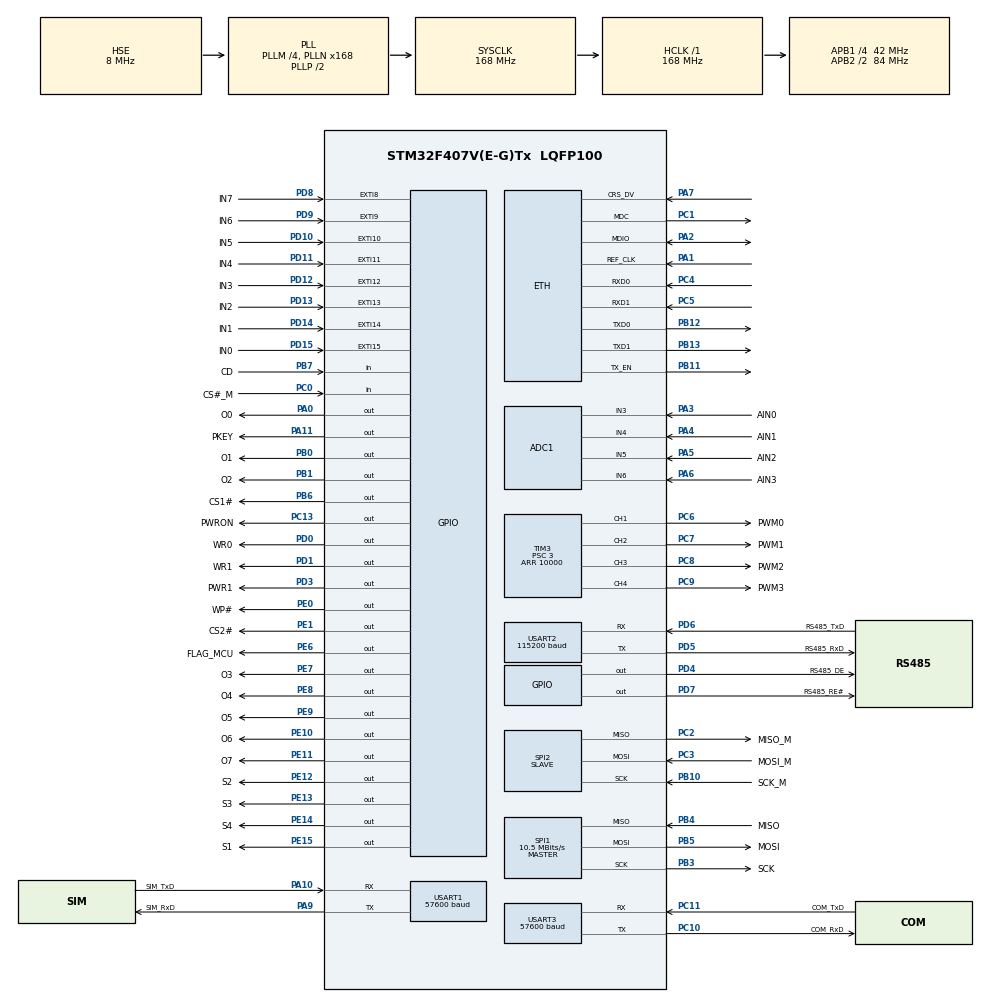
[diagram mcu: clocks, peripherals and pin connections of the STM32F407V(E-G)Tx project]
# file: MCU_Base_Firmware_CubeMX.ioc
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ADC1.Channel-0\#ChannelRegularConversion=ADC_CHANNEL_3
ADC1.Channel-1\#ChannelRegularConversion=ADC_CHANNEL_4
ADC1.Channel-2\#ChannelRegularConversion=ADC_CHANNEL_5
ADC1.Channel-3\#ChannelRegularConversion=ADC_CHANNEL_6
ADC1.ClockPrescaler=ADC_CLOCK_SYNC_PCLK_DIV4
ADC1.ContinuousConvMode=DISABLE
ADC1.DMAContinuousRequests=ENABLE
ADC1.EOCSelection=ADC_EOC_SINGLE_CONV
ADC1.ExternalTrigConv=ADC_EXTERNALTRIGCONV_T4_CC4
ADC1.InjNumberOfConversion=0
ADC1.NbrOfConversion=4
ADC1.NbrOfConversionFlag=1
ADC1.Rank-0\#ChannelRegularConversion=1
ADC1.Rank-1\#ChannelRegularConversion=2
ADC1.Rank-2\#ChannelRegularConversion=3
ADC1.Rank-3\#ChannelRegularConversion=4
ADC1.SamplingTime-0\#ChannelRegularConversion=ADC_SAMPLETIME_3CYCLES
ADC1.SamplingTime-1\#ChannelRegularConversion=ADC_SAMPLETIME_3CYCLES
ADC1.SamplingTime-2\#ChannelRegularConversion=ADC_SAMPLETIME_3CYCLES
ADC1.SamplingTime-3\#ChannelRegularConversion=ADC_SAMPLETIME_3CYCLES
ADC1.master=1
Dma.ADC1.0.Direction=DMA_PERIPH_TO_MEMORY
Dma.ADC1.0.FIFOMode=DMA_FIFOMODE_DISABLE
Dma.ADC1.0.Instance=DMA2_Stream0
Dma.ADC1.0.MemDataAlignment=DMA_MDATAALIGN_HALFWORD
Dma.ADC1.0.MemInc=DMA_MINC_ENABLE
Dma.ADC1.0.Mode=DMA_CIRCULAR
Dma.ADC1.0.PeriphDataAlignment=DMA_PDATAALIGN_HALFWORD
Dma.ADC1.0.PeriphInc=DMA_PINC_DISABLE
Dma.ADC1.0.Priority=DMA_PRIORITY_LOW
Dma.Request0=ADC1
Dma.Request1=TIM3_CH1/TRIG
Dma.Request2=TIM3_CH2
Dma.Request3=TIM3_CH3
Dma.Request4=TIM3_CH4/UP
Dma.TIM3_CH1/TRIG.1.Direction=DMA_MEMORY_TO_PERIPH
Dma.TIM3_CH1/TRIG.1.FIFOMode=DMA_FIFOMODE_DISABLE
Dma.TIM3_CH1/TRIG.1.Instance=DMA1_Stream4
Dma.TIM3_CH1/TRIG.1.MemDataAlignment=DMA_MDATAALIGN_HALFWORD
Dma.TIM3_CH1/TRIG.1.MemInc=DMA_MINC_ENABLE
Dma.TIM3_CH1/TRIG.1.Mode=DMA_CIRCULAR
Dma.TIM3_CH1/TRIG.1.PeriphDataAlignment=DMA_PDATAALIGN_HALFWORD
Dma.TIM3_CH1/TRIG.1.PeriphInc=DMA_PINC_DISABLE
Dma.TIM3_CH1/TRIG.1.Priority=DMA_PRIORITY_LOW
Dma.TIM3_CH2.2.Direction=DMA_MEMORY_TO_PERIPH
Dma.TIM3_CH2.2.FIFOMode=DMA_FIFOMODE_DISABLE
Dma.TIM3_CH2.2.Instance=DMA1_Stream5
Dma.TIM3_CH2.2.MemDataAlignment=DMA_MDATAALIGN_HALFWORD
Dma.TIM3_CH2.2.MemInc=DMA_MINC_ENABLE
Dma.TIM3_CH2.2.Mode=DMA_CIRCULAR
Dma.TIM3_CH2.2.PeriphDataAlignment=DMA_PDATAALIGN_HALFWORD
Dma.TIM3_CH2.2.PeriphInc=DMA_PINC_DISABLE
Dma.TIM3_CH2.2.Priority=DMA_PRIORITY_LOW
Dma.TIM3_CH3.3.Direction=DMA_MEMORY_TO_PERIPH
Dma.TIM3_CH3.3.FIFOMode=DMA_FIFOMODE_DISABLE
Dma.TIM3_CH3.3.Instance=DMA1_Stream7
Dma.TIM3_CH3.3.MemDataAlignment=DMA_MDATAALIGN_HALFWORD
Dma.TIM3_CH3.3.MemInc=DMA_MINC_ENABLE
Dma.TIM3_CH3.3.Mode=DMA_CIRCULAR
Dma.TIM3_CH3.3.PeriphDataAlignment=DMA_PDATAALIGN_HALFWORD
Dma.TIM3_CH3.3.PeriphInc=DMA_PINC_DISABLE
Dma.TIM3_CH3.3.Priority=DMA_PRIORITY_LOW
Dma.TIM3_CH4/UP.4.Direction=DMA_MEMORY_TO_PERIPH
Dma.TIM3_CH4/UP.4.FIFOMode=DMA_FIFOMODE_DISABLE
Dma.TIM3_CH4/UP.4.Instance=DMA1_Stream2
Dma.TIM3_CH4/UP.4.MemDataAlignment=DMA_MDATAALIGN_HALFWORD
Dma.TIM3_CH4/UP.4.MemInc=DMA_MINC_ENABLE
Dma.TIM3_CH4/UP.4.Mode=DMA_CIRCULAR
Dma.TIM3_CH4/UP.4.PeriphDataAlignment=DMA_PDATAALIGN_HALFWORD
Dma.TIM3_CH4/UP.4.PeriphInc=DMA_PINC_DISABLE
Dma.TIM3_CH4/UP.4.Priority=DMA_PRIORITY_LOW
ETH.AutoNegotiation=ETH_AUTONEGOTIATION_ENABLE
ETH.MACAddr=02\:00\:00\:00\:00\:00
ETH.MediaInterface=ETH_MEDIA_INTERFACE_RMII
ETH.PHY_Name_RMII=DP83848_PHY_ADDRESS
LWIP.GATEWAY_ADDRESS=192.168.000.001
LWIP.IP_ADDRESS=192.168.000.090
LWIP.LWIP_DHCP=1
LWIP.MEMP_NUM_TCP_SEG=24
LWIP.NETMASK_ADDRESS=255.255.255.000
LWIP.TCP_MSS=460
LWIP.TCP_SND_BUF=1840
LWIP.TCP_WND=2048
LWIP.Version=v2.1.2_Cube
Mcu.Family=STM32F4
Mcu.Name=STM32F407V(E-G)Tx
Mcu.Package=LQFP100
NVIC.DMA1_Stream2_IRQn=true\:0\:0\:false\:false\:true\:false\:true
NVIC.DMA1_Stream4_IRQn=true\:0\:0\:false\:false\:true\:false\:true
NVIC.DMA1_Stream5_IRQn=true\:0\:0\:false\:false\:true\:false\:true
NVIC.DMA1_Stream7_IRQn=true\:0\:0\:false\:false\:true\:false\:true
NVIC.DMA2_Stream0_IRQn=true\:0\:0\:false\:false\:true\:false\:true
NVIC.EXTI15_10_IRQn=true\:0\:0\:false\:false\:true\:true\:true
NVIC.EXTI9_5_IRQn=true\:0\:0\:false\:false\:true\:true\:true
NVIC.PriorityGroup=NVIC_PRIORITYGROUP_4
NVIC.SPI2_IRQn=true\:0\:0\:false\:false\:true\:true\:true
NVIC.TIM1_UP_TIM10_IRQn=true\:0\:0\:false\:false\:true\:false\:true
NVIC.TIM6_DAC_IRQn=true\:0\:0\:false\:false\:true\:true\:true
NVIC.TimeBase=TIM1_UP_TIM10_IRQn
NVIC.TimeBaseIP=TIM1
NVIC.USART1_IRQn=true\:0\:0\:false\:false\:true\:true\:true
NVIC.USART2_IRQn=true\:0\:0\:false\:false\:true\:true\:true
NVIC.USART3_IRQn=true\:0\:0\:false\:false\:true\:true\:true
PA0-WKUP.GPIO_Label=O0
PA0-WKUP.GPIO_Speed=GPIO_SPEED_FREQ_VERY_HIGH
PA0-WKUP.Signal=GPIO_Output
PA1.Mode=RMII
PA1.Signal=ETH_REF_CLK
PA10.GPIO_Label=SIM_TxD
PA10.Mode=Asynchronous
PA10.Signal=USART1_RX
PA11.GPIO_Label=PKEY
PA11.GPIO_PuPd=GPIO_NOPULL
PA11.GPIO_Speed=GPIO_SPEED_FREQ_VERY_HIGH
PA11.PinState=GPIO_PIN_SET
PA11.Signal=GPIO_Output
PA13.Mode=Serial_Wire
PA13.Signal=SYS_JTMS-SWDIO
PA14.Mode=Serial_Wire
PA14.Signal=SYS_JTCK-SWCLK
PA2.Mode=RMII
PA2.Signal=ETH_MDIO
PA3.GPIO_Label=AIN0
PA3.Signal=ADCx_IN3
PA4.GPIO_Label=AIN1
PA4.Signal=ADCx_IN4
PA5.GPIO_Label=AIN2
PA5.Signal=ADCx_IN5
PA6.GPIO_Label=AIN3
PA6.Signal=ADCx_IN6
PA7.Mode=RMII
PA7.Signal=ETH_CRS_DV
PA9.GPIO_Label=SIM_RxD
PA9.Mode=Asynchronous
PA9.Signal=USART1_TX
PB0.GPIO_Label=O1
PB0.GPIO_Speed=GPIO_SPEED_FREQ_VERY_HIGH
PB0.Signal=GPIO_Output
PB1.GPIO_Label=O2
PB1.GPIO_Speed=GPIO_SPEED_FREQ_VERY_HIGH
PB1.Signal=GPIO_Output
PB10.GPIO_Label=SCK_M
PB10.Mode=Full_Duplex_Slave
PB10.Signal=SPI2_SCK
PB11.Mode=RMII
PB11.Signal=ETH_TX_EN
PB12.Mode=RMII
PB12.Signal=ETH_TXD0
PB13.Mode=RMII
PB13.Signal=ETH_TXD1
PB3.GPIO_Label=SCK
PB3.Mode=Full_Duplex_Master
PB3.Signal=SPI1_SCK
PB4.GPIO_Label=MISO
PB4.Mode=Full_Duplex_Master
PB4.Signal=SPI1_MISO
PB5.GPIO_Label=MOSI
PB5.Mode=Full_Duplex_Master
PB5.Signal=SPI1_MOSI
PB6.GPIO_Label=CS1\#
PB6.GPIO_Speed=GPIO_SPEED_FREQ_VERY_HIGH
PB6.Signal=GPIO_Output
PB7.GPIO_Label=CD
PB7.Signal=GPIO_Input
PC0.GPIO_Label=CS\#_M
PC0.Signal=GPIO_Input
PC1.Mode=RMII
PC1.Signal=ETH_MDC
PC10.GPIO_Label=COM_RxD
PC10.Mode=Asynchronous
PC10.Signal=USART3_TX
PC11.GPIO_Label=COM_TxD
PC11.Mode=Asynchronous
PC11.Signal=USART3_RX
PC13-ANTI_TAMP.GPIO_Label=PWRON
PC13-ANTI_TAMP.Signal=GPIO_Output
PC14-OSC32_IN.Mode=LSE-External-Oscillator
PC14-OSC32_IN.Signal=RCC_OSC32_IN
PC15-OSC32_OUT.Mode=LSE-External-Oscillator
PC15-OSC32_OUT.Signal=RCC_OSC32_OUT
PC2.GPIO_Label=MISO_M
PC2.Mode=Full_Duplex_Slave
PC2.Signal=SPI2_MISO
PC3.GPIO_Label=MOSI_M
PC3.Mode=Full_Duplex_Slave
PC3.Signal=SPI2_MOSI
PC4.Mode=RMII
PC4.Signal=ETH_RXD0
PC5.Mode=RMII
PC5.Signal=ETH_RXD1
PC6.GPIO_Label=PWM0
PC6.GPIO_Speed=GPIO_SPEED_FREQ_VERY_HIGH
PC6.Signal=S_TIM3_CH1
PC7.GPIO_Label=PWM1
PC7.GPIO_Speed=GPIO_SPEED_FREQ_VERY_HIGH
PC7.Signal=S_TIM3_CH2
PC8.GPIO_Label=PWM2
PC8.GPIO_Speed=GPIO_SPEED_FREQ_VERY_HIGH
PC8.Signal=S_TIM3_CH3
PC9.GPIO_Label=PWM3
PC9.GPIO_Speed=GPIO_SPEED_FREQ_VERY_HIGH
PC9.Signal=S_TIM3_CH4
PD0.GPIO_Label=WR0
PD0.GPIO_ModeDefaultOutputPP=GPIO_MODE_OUTPUT_OD
PD0.GPIO_PuPd=GPIO_NOPULL
PD0.GPIO_Speed=GPIO_SPEED_FREQ_HIGH
PD0.Signal=GPIO_Output
PD1.GPIO_Label=WR1
PD1.GPIO_Speed=GPIO_SPEED_FREQ_VERY_HIGH
PD1.Signal=GPIO_Output
PD10.GPIO_Label=IN5
PD10.GPIO_ModeDefaultEXTI=GPIO_MODE_IT_RISING_FALLING
PD10.GPIO_PuPd=GPIO_NOPULL
PD10.Signal=GPXTI10
PD11.GPIO_Label=IN4
PD11.GPIO_ModeDefaultEXTI=GPIO_MODE_IT_RISING_FALLING
PD11.GPIO_PuPd=GPIO_NOPULL
PD11.Signal=GPXTI11
PD12.GPIO_Label=IN3
PD12.GPIO_ModeDefaultEXTI=GPIO_MODE_IT_RISING_FALLING
PD12.GPIO_PuPd=GPIO_NOPULL
PD12.Signal=GPXTI12
PD13.GPIO_Label=IN2
PD13.GPIO_ModeDefaultEXTI=GPIO_MODE_IT_RISING_FALLING
PD13.GPIO_PuPd=GPIO_NOPULL
PD13.Signal=GPXTI13
PD14.GPIO_Label=IN1
PD14.GPIO_ModeDefaultEXTI=GPIO_MODE_IT_RISING_FALLING
PD14.GPIO_PuPd=GPIO_NOPULL
PD14.Signal=GPXTI14
PD15.GPIO_Label=IN0
PD15.GPIO_ModeDefaultEXTI=GPIO_MODE_IT_RISING_FALLING
PD15.GPIO_PuPd=GPIO_NOPULL
PD15.Signal=GPXTI15
PD3.GPIO_Label=PWR1
PD3.GPIO_Speed=GPIO_SPEED_FREQ_VERY_HIGH
PD3.Signal=GPIO_Output
PD4.GPIO_Label=RS485_DE
PD4.GPIO_PuPd=GPIO_NOPULL
PD4.GPIO_Speed=GPIO_SPEED_FREQ_VERY_HIGH
PD4.PinState=GPIO_PIN_RESET
PD4.Signal=GPIO_Output
PD5.GPIO_Label=RS485_RxD
PD5.Mode=Asynchronous
PD5.Signal=USART2_TX
PD6.GPIO_Label=RS485_TxD
PD6.Mode=Asynchronous
PD6.Signal=USART2_RX
PD7.GPIO_Label=RS485_RE\#
PD7.GPIO_PuPd=GPIO_NOPULL
PD7.GPIO_Speed=GPIO_SPEED_FREQ_VERY_HIGH
PD7.PinState=GPIO_PIN_RESET
PD7.Signal=GPIO_Output
PD8.GPIO_Label=IN7
PD8.GPIO_ModeDefaultEXTI=GPIO_MODE_IT_RISING_FALLING
PD8.GPIO_PuPd=GPIO_NOPULL
PD8.Signal=GPXTI8
PD9.GPIO_Label=IN6
PD9.GPIO_ModeDefaultEXTI=GPIO_MODE_IT_RISING_FALLING
PD9.GPIO_PuPd=GPIO_NOPULL
PD9.Signal=GPXTI9
PE0.GPIO_Label=WP\#
PE0.GPIO_PuPd=GPIO_NOPULL
PE0.GPIO_Speed=GPIO_SPEED_FREQ_VERY_HIGH
PE0.PinState=GPIO_PIN_RESET
PE0.Signal=GPIO_Output
PE1.GPIO_Label=CS2\#
PE1.GPIO_PuPd=GPIO_PULLUP
PE1.GPIO_Speed=GPIO_SPEED_FREQ_VERY_HIGH
PE1.PinState=GPIO_PIN_SET
PE1.Signal=GPIO_Output
PE10.GPIO_Label=O6
PE10.GPIO_Speed=GPIO_SPEED_FREQ_VERY_HIGH
PE10.Signal=GPIO_Output
PE11.GPIO_Label=O7
PE11.GPIO_Speed=GPIO_SPEED_FREQ_VERY_HIGH
PE11.Signal=GPIO_Output
PE12.GPIO_Label=S2
PE12.GPIO_Speed=GPIO_SPEED_FREQ_VERY_HIGH
PE12.Signal=GPIO_Output
PE13.GPIO_Label=S3
PE13.GPIO_Speed=GPIO_SPEED_FREQ_VERY_HIGH
PE13.Signal=GPIO_Output
PE14.GPIO_Label=S4
PE14.GPIO_Speed=GPIO_SPEED_FREQ_VERY_HIGH
PE14.Signal=GPIO_Output
PE15.GPIO_Label=S1
PE15.GPIO_Speed=GPIO_SPEED_FREQ_VERY_HIGH
PE15.Signal=GPIO_Output
PE6.GPIO_Label=FLAG_MCU
PE6.GPIO_Speed=GPIO_SPEED_FREQ_VERY_HIGH
PE6.PinState=GPIO_PIN_SET
PE6.Signal=GPIO_Output
PE7.GPIO_Label=O3
PE7.GPIO_Speed=GPIO_SPEED_FREQ_VERY_HIGH
PE7.Signal=GPIO_Output
PE8.GPIO_Label=O4
PE8.GPIO_Speed=GPIO_SPEED_FREQ_VERY_HIGH
PE8.Signal=GPIO_Output
PE9.GPIO_Label=O5
PE9.GPIO_Speed=GPIO_SPEED_FREQ_VERY_HIGH
PE9.Signal=GPIO_Output
PH0-OSC_IN.Mode=HSE-External-Oscillator
PH0-OSC_IN.Signal=RCC_OSC_IN
PH1-OSC_OUT.Mode=HSE-External-Oscillator
PH1-OSC_OUT.Signal=RCC_OSC_OUT
ProjectManager.HeapSize=0x2000
ProjectManager.StackSize=0x4000
ProjectManager.TargetToolchain=STM32CubeIDE
RCC.48MHZClocksFreq_Value=84000000
RCC.AHBFreq_Value=168000000
RCC.APB1CLKDivider=RCC_HCLK_DIV4
RCC.APB1Freq_Value=42000000
RCC.APB1TimFreq_Value=84000000
RCC.APB2CLKDivider=RCC_HCLK_DIV2
RCC.APB2Freq_Value=84000000
RCC.APB2TimFreq_Value=168000000
RCC.CortexFreq_Value=168000000
RCC.HCLKFreq_Value=168000000
RCC.HSE_VALUE=8000000
RCC.HSI_VALUE=16000000
RCC.PLLM=4
RCC.PLLN=168
RCC.PLLSourceVirtual=RCC_PLLSOURCE_HSE
RCC.RCC_RTC_Clock_Source=RCC_RTCCLKSOURCE_LSE
RCC.RCC_RTC_Clock_SourceVirtual=RCC_RTCCLKSOURCE_LSE
RCC.SYSCLKFreq_VALUE=168000000
RCC.SYSCLKSource=RCC_SYSCLKSOURCE_PLLCLK
RCC.VCOOutputFreq_Value=336000000
RTC.Date=20
RTC.Format=RTC_FORMAT_BIN
RTC.Hours=10
RTC.Minutes=34
RTC.Month=RTC_MONTH_APRIL
RTC.WeekDay=RTC_WEEKDAY_TUESDAY
RTC.Year=21
SH.ADCx_IN3.0=ADC1_IN3,IN3
SH.ADCx_IN4.0=ADC1_IN4,IN4
SH.ADCx_IN5.0=ADC1_IN5,IN5
SH.ADCx_IN6.0=ADC1_IN6,IN6
SH.S_TIM3_CH1.0=TIM3_CH1,PWM Generation1 CH1
SH.S_TIM3_CH2.0=TIM3_CH2,PWM Generation2 CH2
SH.S_TIM3_CH3.0=TIM3_CH3,PWM Generation3 CH3
SH.S_TIM3_CH4.0=TIM3_CH4,PWM Generation4 CH4
SPI1.BaudRatePrescaler=SPI_BAUDRATEPRESCALER_8
SPI1.CalculateBaudRate=10.5 MBits/s
SPI1.Direction=SPI_DIRECTION_2LINES
SPI1.Mode=SPI_MODE_MASTER
SPI1.VirtualType=VM_MASTER
SPI2.Direction=SPI_DIRECTION_2LINES
SPI2.Mode=SPI_MODE_SLAVE
SPI2.VirtualType=VM_SLAVE
TIM3.Channel-PWM\ Generation1\ CH1=TIM_CHANNEL_1
TIM3.Channel-PWM\ Generation2\ CH2=TIM_CHANNEL_2
TIM3.Channel-PWM\ Generation3\ CH3=TIM_CHANNEL_3
TIM3.Channel-PWM\ Generation4\ CH4=TIM_CHANNEL_4
TIM3.OCFastMode_PWM-PWM\ Generation1\ CH1=TIM_OCFAST_ENABLE
TIM3.OCFastMode_PWM-PWM\ Generation2\ CH2=TIM_OCFAST_ENABLE
TIM3.OCFastMode_PWM-PWM\ Generation3\ CH3=TIM_OCFAST_ENABLE
TIM3.OCFastMode_PWM-PWM\ Generation4\ CH4=TIM_OCFAST_ENABLE
TIM3.Period=10000
TIM3.Prescaler=3
TIM3.Pulse-PWM\ Generation1\ CH1=1000
TIM3.Pulse-PWM\ Generation2\ CH2=1000
TIM3.Pulse-PWM\ Generation3\ CH3=1000
TIM3.Pulse-PWM\ Generation4\ CH4=1000
TIM4.AutoReloadPreload=TIM_AUTORELOAD_PRELOAD_DISABLE
TIM4.Channel-Output\ Compare4\ No\ Output=TIM_CHANNEL_4
TIM4.OCMode_4=TIM_OCMODE_TOGGLE
TIM4.Period=65000
TIM4.Prescaler=0
TIM6.Period=49999
TIM6.Prescaler=83
USART1.BaudRate=57600
USART1.VirtualMode=VM_ASYNC
USART2.BaudRate=115200
USART2.VirtualMode=VM_ASYNC
USART3.BaudRate=57600
USART3.VirtualMode=VM_ASYNC
VP_CRC_VS_CRC.Mode=CRC_Activate
VP_LWIP_VS_Enabled.Mode=Enabled
VP_RTC_VS_RTC_Activate.Mode=RTC_Enabled
VP_RTC_VS_RTC_Calendar.Mode=RTC_Calendar
VP_SYS_VS_tim1.Mode=TIM1
VP_TIM4_VS_no_output4.Mode=Output Compare4 No Output
VP_TIM6_VS_ClockSourceINT.Mode=Enable_Timer
board=custom

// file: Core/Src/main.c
/* USER CODE BEGIN Header */
/**
  ******************************************************************************
  * @file           : main.c
  * @brief          : Main program body
  ******************************************************************************
  * @attention
  *
  * <h2><center>&copy; Copyright (c) 2020 STMicroelectronics.
  * All rights reserved.</center></h2>
  *
  * This software component is licensed by ST under Ultimate Liberty license
  * SLA0044, the "License"; You may not use this file except in compliance with
  * the License. You may obtain a copy of the License at:
  *                             www.st.com/SLA0044
  *
  ******************************************************************************
  */
/* USER CODE END Header */
#include "main.h"
#include "adc.h"
#include "crc.h"
#include "dma.h"
#include "lwip.h"
#include "rtc.h"
#include "spi.h"
#include "tim.h"
#include "usart.h"
#include "gpio.h"

/* USER CODE BEGIN Includes */
#include "../eth/Inc/net.h"
/* USER CODE END Includes */

/* USER CODE BEGIN PV */
extern struct netif gnetif;
extern char str_ethernet[];

extern uint8_t flag_iput_spi2;
extern uint8_t SPI_rx_buf[1];
extern uint8_t SPI_tx_buf[1];

char trans_str[64] = {0,};
volatile uint16_t adc[4] = {0,}; 	//Массив для хранения данных АЦП
double adcValue[4] = {0,};			//Массив для хранения обработанных данных АЦП

extern char a[32];
extern uint8_t b;
extern char c[32];
extern uint8_t d;

////----------------FATfs----------------------
//volatile uint16_t Timer1=0;
FATFS FATFS_Obj;	//Инициализация структуры описывающей инициализацию файловой системы
FRESULT result;		//Инициализация структуры описывающей статусы работы карты памяти
FIL MyFile;			//Инициализация структуры описывающей выбранный файл
uint32_t BytesToWrite = 0;	//Кол-во записанных байт
int firmwareBytesToWrite = 0;	//Кол-во байт которые нужно записать(размер файла)
int firmwareBytesCounter = 0;	//Счетчик полной почсылки (248 байт)

bool check_init = false;
////-------------------------------------------

//RTC_TimeTypeDef sTime = {0};
//RTC_DateTypeDef DateToUpdate = {0};
//
//char trans_str[64] = {0,};

uint8_t Time_Counter_Init = 0;	//Счетчик таймера до запуска функции инициализации датчиков температуры
uint8_t Time_Counter_Read = 0;	//Счетчик таймера до запуска функции чтения датчиков температуры
bool OneWire_Test_Flag_Init = false;	//Флаг запуска функции инициализации датчиков температуры
bool OneWire_Test_Flag_Read = false;	//Флаг запуска функции чтения датчиков температуры

/* USER CODE END PV */

void SystemClock_Config(void);

int main(void)
{

  /* MCU Configuration--------------------------------------------------------*/

  /* Reset of all peripherals, Initializes the Flash interface and the Systick. */
  HAL_Init();

  /* Configure the system clock */
  SystemClock_Config();

  /* Initialize all configured peripherals */
  MX_GPIO_Init();
  MX_DMA_Init();
  MX_ADC1_Init();
  MX_SPI1_Init();
  MX_SPI2_Init();
  MX_TIM3_Init();
  MX_USART1_UART_Init();
  MX_USART2_UART_Init();
  MX_USART3_UART_Init();
  MX_LWIP_Init();
  MX_TIM4_Init();
  MX_RTC_Init();
  MX_TIM6_Init();
  MX_CRC_Init();
  /* USER CODE BEGIN 2 */

	HAL_Delay(1000);	//Ждем загрузки данных на дисплее (примерная задержка)
	DWT_Init();		//Инициализация микросекундных задержек
	HAL_CRC_MspInit(&hcrc);		//Включаем тактирование аппаратного CRC

	EN_Interrupt();		//Для дебага по USART3

	//----------------GSM_test------------------
//	INIT_GSM();
	//------------------------------------------

												//Для организации обмена данными по блютуз нужно включить:
												//EN_Interrupt(); INIT_GSM(); GSM_RxCpltCallback();(Вкл в main)

	//----------------ETH_test------------------
//	net_ini();
	//------------------------------------------

												//Для организации обмена данными по ethernet нужно включить:
												//net_ini(); MX_LWIP_Process();(Вкл в main) также закоментить в файле stm32f4xx_it.c строчки для отладки через DEBUG_main();

	//----------------ADC_test------------------
	HAL_ADC_Start_DMA(&hadc1, (uint32_t*)&adc, 4);		//Стартуем АЦП
	HAL_TIM_OC_Start(&htim4, TIM_CHANNEL_4);
	//------------------------------------------

	//-------------1-WIRE_test------------------
	UpdateTempSens();
	//------------------------------------------

//	HAL_UART_Receive_IT(&huart3,(uint8_t*)str_ethernet,1);		//Настройка прерывания COM для отладки ETH (!?)

//	HAL_SPI_TransmitReceive_IT(&hspi2, (uint8_t *)SPI_tx_buf, (uint8_t *)SPI_rx_buf, 1);	//Настройка прерывания по spi для МК

	//----------------PWM_test------------------
	//------------------------------------------
	//---------------FATfs----------------------
	my_init_card();
	SEND_str("Init sd card -> success\n");
	//------------------------------------------
//	test_create_json();
  /* USER CODE END 2 */

  /* Infinite loop */
  /* USER CODE BEGIN WHILE */
	while (1)
	{
		//----------------RCT_test----------------
//        HAL_RTC_GetTime(&hrtc, &sTime, RTC_FORMAT_BIN); // RTC_FORMAT_BIN , RTC_FORMAT_BCD
//        snprintf(trans_str, 63, "Time %d:%d:%d\n", sTime.Hours, sTime.Minutes, sTime.Seconds);
//        //HAL_UART_Transmit(&huart1, (uint8_t*)trans_str, strlen(trans_str), 1000);
//        SEND_str(trans_str);
//
//        HAL_RTC_GetDate(&hrtc, &DateToUpdate, RTC_FORMAT_BIN);
//        snprintf(trans_str, 63, "Date %d-%d-20%d\n", DateToUpdate.Date, DateToUpdate.Month, DateToUpdate.Year);
//        //HAL_UART_Transmit(&huart1, (uint8_t*)trans_str, strlen(trans_str), 1000);
//        SEND_str(trans_str);
//    	HAL_Delay(1000);
    	//----------------------------------------

		//---------------RS485_test---------------
//		RS485_Tx;
//			HAL_Delay(50);
//			SEND_RS485_str("Test_addr\n");
//			HAL_Delay(50);
//		RS485_Rx;
//
//		RS485_main();				//Обработчик принятия данных по rs485
		//----------------------------------------

		//----------------ETH_test----------------
//		MX_LWIP_Process();			//Обработчик передачи данных по ETH
		//----------------------------------------

		//----------------GSM_test----------------
//		GSM_RxCpltCallback();		//Обработчик принятых данных от модуля GSM
		//----------------------------------------

		//--------------SPI_test_MK---------------
//		SPI_available();			//Необходимо переделать так чтобы на дисплее был только статус вывода.
		//----------------------------------------

		//----------------ADC_test----------------
//		sprintf(Buff, "%.5f", adcValue[0]);
////		sprintf(Buff, "%d", (uint16_t)adc[0]);
//		SEND_str(Buff);
//		SEND_str("\n");
//		HAL_Delay(2000);
		//----------------------------------------

		//----------------PWM_test----------------
		//----------------------------------------

		//------------------DEBUG-----------------
		DEBUG_main();
		//----------------------------------------

		//--------------ReINIT_GPIO---------------
		CheckReWriteAiDo();
		//----------------------------------------
		//----------TEST_EXAMPLE_1-WIRE-----------
//		TempSensMain();
		CheckReWriteTSiDo();
		//----------------------------------------
    /* USER CODE END WHILE */

	}
}

void SystemClock_Config(void)
{
  RCC_OscInitTypeDef RCC_OscInitStruct = {0};
  RCC_ClkInitTypeDef RCC_ClkInitStruct = {0};
  RCC_PeriphCLKInitTypeDef PeriphClkInitStruct = {0};

  /** Configure the main internal regulator output voltage
  */
  __HAL_RCC_PWR_CLK_ENABLE();
  __HAL_PWR_VOLTAGESCALING_CONFIG(PWR_REGULATOR_VOLTAGE_SCALE1);
  /** Initializes the RCC Oscillators according to the specified parameters
  * in the RCC_OscInitTypeDef structure.
  */
  RCC_OscInitStruct.OscillatorType = RCC_OSCILLATORTYPE_HSE|RCC_OSCILLATORTYPE_LSE;
  RCC_OscInitStruct.HSEState = RCC_HSE_ON;
  RCC_OscInitStruct.LSEState = RCC_LSE_ON;
  RCC_OscInitStruct.PLL.PLLState = RCC_PLL_ON;
  RCC_OscInitStruct.PLL.PLLSource = RCC_PLLSOURCE_HSE;
  RCC_OscInitStruct.PLL.PLLM = 4;
  RCC_OscInitStruct.PLL.PLLN = 168;
  RCC_OscInitStruct.PLL.PLLP = RCC_PLLP_DIV2;
  RCC_OscInitStruct.PLL.PLLQ = 4;
  if (HAL_RCC_OscConfig(&RCC_OscInitStruct) != HAL_OK)
  {
    Error_Handler();
  }
  /** Initializes the CPU, AHB and APB buses clocks
  */
  RCC_ClkInitStruct.ClockType = RCC_CLOCKTYPE_HCLK|RCC_CLOCKTYPE_SYSCLK
                              |RCC_CLOCKTYPE_PCLK1|RCC_CLOCKTYPE_PCLK2;
  RCC_ClkInitStruct.SYSCLKSource = RCC_SYSCLKSOURCE_PLLCLK;
  RCC_ClkInitStruct.AHBCLKDivider = RCC_SYSCLK_DIV1;
  RCC_ClkInitStruct.APB1CLKDivider = RCC_HCLK_DIV4;
  RCC_ClkInitStruct.APB2CLKDivider = RCC_HCLK_DIV2;

  if (HAL_RCC_ClockConfig(&RCC_ClkInitStruct, FLASH_LATENCY_5) != HAL_OK)
  {
    Error_Handler();
  }
  PeriphClkInitStruct.PeriphClockSelection = RCC_PERIPHCLK_RTC;
  PeriphClkInitStruct.RTCClockSelection = RCC_RTCCLKSOURCE_LSE;
  if (HAL_RCCEx_PeriphCLKConfig(&PeriphClkInitStruct) != HAL_OK)
  {
    Error_Handler();
  }
}

/* USER CODE BEGIN 4 */
void HAL_UART_RxCpltCallback(UART_HandleTypeDef *huart)
{
//	if(huart == &huart1)	//GSM interrupt
//	{
//		GSM_RxCpltCallback();
//	}
//	if(huart == &huart2)	//RS485 interrupt
//	{
//
////		RS485_RxCpltCallback();
//	}

////Нужно для отладки Ethernet по USART
//	if(huart == &huart3)	//COM interrupt
//	{
//		UART3_RxCpltCallback();
//	}
}
void HAL_GPIO_EXTI_Callback(uint16_t GPIO_Pin)
{
	CheckReWriteDiDo();
}
void HAL_SPI_TxRxCpltCallback(SPI_HandleTypeDef *hspi)
{

	  //Написать обработчик сообщенй по SPI от MCU

	if(hspi == &hspi2)
	{
	    if(!hspi2.TxXferCount && !flag_iput_spi2)
	    {
	    	flag_iput_spi2 = 1;
	    }
	}
}
void HAL_ADC_ConvCpltCallback(ADC_HandleTypeDef* hadc)
{
    if(hadc->Instance == ADC1)
    {
    	adcValue[0] = Conversion_ADC1((uint16_t)adc[0], 0);
        adcValue[1] = Conversion_ADC1((uint16_t)adc[1], 1);
        adcValue[2] = Conversion_ADC1((uint16_t)adc[2], 2);
        adcValue[3] = Conversion_ADC1((uint16_t)adc[3], 3);
    }
}
/* USER CODE END 4 */

void HAL_TIM_PeriodElapsedCallback(TIM_HandleTypeDef *htim)
{
  /* USER CODE BEGIN Callback 0 */
    if(htim->Instance == TIM6) //check if the interrupt comes from TIM6
    {
		Time_Counter_Init++;
		Time_Counter_Read++;

		if(Time_Counter_Init == 16)		//Запрос данных каждую ~0.8 сек (old 16: 83 to 49999)
        {
	    	OneWire_Test_Flag_Init = true;
        }
		if(Time_Counter_Read == 32)	//Запрос данных каждую ~1.6 сек (old 32: 83 to 49999))
        {
	    	OneWire_Test_Flag_Read = true;

	    	Time_Counter_Init = 0;
	    	Time_Counter_Read = 0;
        }
    }

  /* USER CODE END Callback 0 */
  if (htim->Instance == TIM1) {
    HAL_IncTick();
  }
}

void Error_Handler(void)
{
}

/************************ (C) COPYRIGHT STMicroelectronics *****END OF FILE****/
